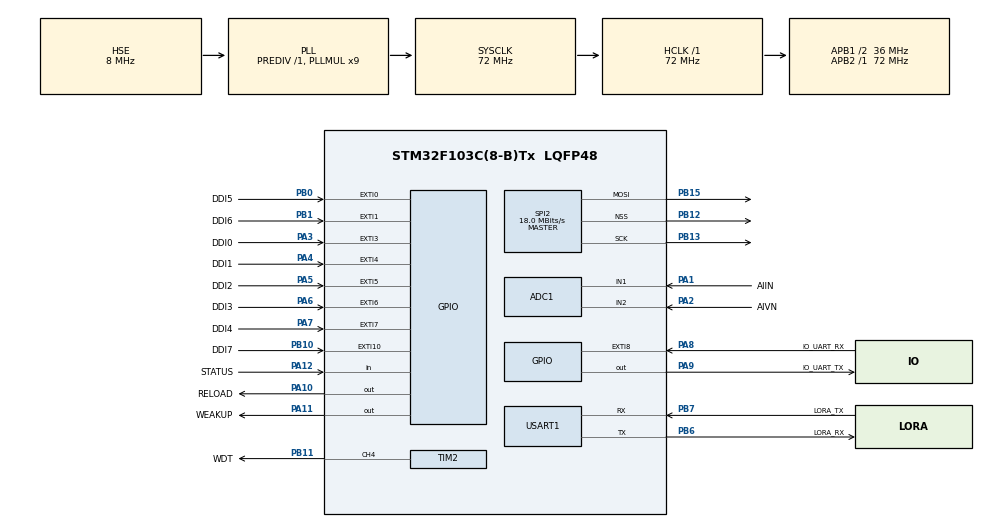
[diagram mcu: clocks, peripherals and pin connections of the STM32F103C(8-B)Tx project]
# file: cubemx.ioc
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ADC1.Channel-0\#ChannelRegularConversion=ADC_CHANNEL_1
ADC1.Channel-1\#ChannelRegularConversion=ADC_CHANNEL_2
ADC1.ContinuousConvMode=ENABLE
ADC1.EnableAnalogWatchDog=true
ADC1.NbrOfConversion=2
ADC1.NbrOfConversionFlag=1
ADC1.Rank-0\#ChannelRegularConversion=1
ADC1.Rank-1\#ChannelRegularConversion=2
ADC1.SamplingTime-0\#ChannelRegularConversion=ADC_SAMPLETIME_71CYCLES_5
ADC1.SamplingTime-1\#ChannelRegularConversion=ADC_SAMPLETIME_71CYCLES_5
ADC1.WatchdogChannel=ADC_CHANNEL_2
ADC1.master=1
Dma.ADC1.0.Direction=DMA_PERIPH_TO_MEMORY
Dma.ADC1.0.Instance=DMA1_Channel1
Dma.ADC1.0.MemDataAlignment=DMA_MDATAALIGN_WORD
Dma.ADC1.0.MemInc=DMA_MINC_ENABLE
Dma.ADC1.0.Mode=DMA_CIRCULAR
Dma.ADC1.0.PeriphDataAlignment=DMA_PDATAALIGN_WORD
Dma.ADC1.0.PeriphInc=DMA_PINC_DISABLE
Dma.ADC1.0.Priority=DMA_PRIORITY_HIGH
Dma.Request0=ADC1
Dma.Request1=USART1_RX
Dma.Request2=USART1_TX
Dma.USART1_RX.1.Direction=DMA_PERIPH_TO_MEMORY
Dma.USART1_RX.1.Instance=DMA1_Channel5
Dma.USART1_RX.1.MemDataAlignment=DMA_MDATAALIGN_BYTE
Dma.USART1_RX.1.MemInc=DMA_MINC_ENABLE
Dma.USART1_RX.1.Mode=DMA_NORMAL
Dma.USART1_RX.1.PeriphDataAlignment=DMA_PDATAALIGN_BYTE
Dma.USART1_RX.1.PeriphInc=DMA_PINC_DISABLE
Dma.USART1_RX.1.Priority=DMA_PRIORITY_MEDIUM
Dma.USART1_TX.2.Direction=DMA_MEMORY_TO_PERIPH
Dma.USART1_TX.2.Instance=DMA1_Channel4
Dma.USART1_TX.2.MemDataAlignment=DMA_MDATAALIGN_BYTE
Dma.USART1_TX.2.MemInc=DMA_MINC_ENABLE
Dma.USART1_TX.2.Mode=DMA_NORMAL
Dma.USART1_TX.2.PeriphDataAlignment=DMA_PDATAALIGN_BYTE
Dma.USART1_TX.2.PeriphInc=DMA_PINC_DISABLE
Dma.USART1_TX.2.Priority=DMA_PRIORITY_MEDIUM
FREERTOS.BinarySemaphores01=Recive,Dynamic,NULL
FREERTOS.Mutexes01=shellMutex,Dynamic,NULL
FREERTOS.Queues01=DDIx_Queue,16,uint16_t,0,Dynamic,NULL,NULL
FREERTOS.Tasks01=shell,-2,256,Shell_Task,Default,&shell,Dynamic,NULL,NULL;mdbus,0,256,Mdbus_Task,Default,NULL,Dynamic,NULL,NULL;read_io,1,256,Read_Io_Task,Default,&DDIx,Dynamic,NULL,NULL;IWDG,3,64,IWDG_Task,Default,NULL,Dynamic,NULL,NULL
FREERTOS.Timers01=Timer1,Timer_Callback,osTimerPeriodic,Default,NULL,Dynamic,NULL
FREERTOS.configCHECK_FOR_STACK_OVERFLOW=2
FREERTOS.configMINIMAL_STACK_SIZE=64
FREERTOS.configTIMER_TASK_STACK_DEPTH=256
FREERTOS.configTOTAL_HEAP_SIZE=14336
FREERTOS.configUSE_TIMERS=1
IWDG.Prescaler=IWDG_PRESCALER_64
IWDG.Reload=1250
Mcu.Family=STM32F1
Mcu.Name=STM32F103C(8-B)Tx
Mcu.Package=LQFP48
NVIC.DMA1_Channel1_IRQn=true\:5\:0\:true\:false\:true\:true\:false\:true\:true
NVIC.DMA1_Channel4_IRQn=true\:5\:0\:false\:false\:true\:true\:false\:true\:true
NVIC.DMA1_Channel5_IRQn=true\:5\:0\:false\:false\:true\:true\:false\:true\:true
NVIC.EXTI0_IRQn=true\:5\:0\:false\:false\:true\:true\:true\:true\:true
NVIC.EXTI15_10_IRQn=true\:5\:0\:false\:false\:true\:true\:true\:true\:true
NVIC.EXTI1_IRQn=true\:5\:0\:false\:false\:true\:true\:true\:true\:true
NVIC.EXTI3_IRQn=true\:5\:0\:false\:false\:true\:true\:true\:true\:true
NVIC.EXTI4_IRQn=true\:5\:0\:false\:false\:true\:true\:true\:true\:true
NVIC.EXTI9_5_IRQn=true\:3\:0\:true\:false\:true\:false\:true\:true\:true
NVIC.PriorityGroup=NVIC_PRIORITYGROUP_4
NVIC.TIM1_UP_IRQn=true\:0\:0\:false\:false\:true\:false\:false\:true\:true
NVIC.TIM3_IRQn=true\:4\:0\:true\:false\:true\:false\:true\:true\:true
NVIC.TIM4_IRQn=true\:3\:0\:true\:false\:true\:false\:true\:true\:true
NVIC.TimeBase=TIM1_UP_IRQn
NVIC.TimeBaseIP=TIM1
NVIC.USART1_IRQn=true\:5\:0\:true\:false\:true\:true\:true\:true\:true
PA1.GPIO_Label=AIIN
PA1.Signal=ADCx_IN1
PA10.GPIO_Label=RELOAD
PA10.GPIO_PuPd=GPIO_PULLUP
PA10.GPIO_Speed=GPIO_SPEED_FREQ_LOW
PA10.PinState=GPIO_PIN_SET
PA10.Signal=GPIO_Output
PA11.GPIO_Label=WEAKUP
PA11.GPIO_PuPd=GPIO_PULLUP
PA11.PinState=GPIO_PIN_SET
PA11.Signal=GPIO_Output
PA12.GPIO_Label=STATUS
PA12.GPIO_PuPd=GPIO_PULLUP
PA12.Signal=GPIO_Input
PA13.Mode=Serial_Wire
PA13.Signal=SYS_JTMS-SWDIO
PA14.Mode=Serial_Wire
PA14.Signal=SYS_JTCK-SWCLK
PA2.GPIO_Label=AIVN
PA2.Signal=ADCx_IN2
PA3.GPIO_Label=DDI0
PA3.GPIO_ModeDefaultEXTI=GPIO_MODE_IT_FALLING
PA3.Signal=GPXTI3
PA4.GPIO_Label=DDI1
PA4.GPIO_ModeDefaultEXTI=GPIO_MODE_IT_FALLING
PA4.Signal=GPXTI4
PA5.GPIO_Label=DDI2
PA5.GPIO_ModeDefaultEXTI=GPIO_MODE_IT_FALLING
PA5.Signal=GPXTI5
PA6.GPIO_Label=DDI3
PA6.GPIO_ModeDefaultEXTI=GPIO_MODE_IT_FALLING
PA6.Signal=GPXTI6
PA7.GPIO_Label=DDI4
PA7.GPIO_ModeDefaultEXTI=GPIO_MODE_IT_FALLING
PA7.Signal=GPXTI7
PA8.GPIO_Label=IO_UART_RX
PA8.GPIO_ModeDefaultEXTI=GPIO_MODE_IT_FALLING
PA8.GPIO_PuPd=GPIO_PULLUP
PA8.Signal=GPXTI8
PA9.GPIO_Label=IO_UART_TX
PA9.GPIO_PuPd=GPIO_PULLUP
PA9.GPIO_Speed=GPIO_SPEED_FREQ_HIGH
PA9.PinState=GPIO_PIN_SET
PA9.Signal=GPIO_Output
PB0.GPIO_Label=DDI5
PB0.GPIO_ModeDefaultEXTI=GPIO_MODE_IT_FALLING
PB0.GPIO_PuPd=GPIO_PULLUP
PB0.Signal=GPXTI0
PB1.GPIO_Label=DDI6
PB1.GPIO_ModeDefaultEXTI=GPIO_MODE_IT_FALLING
PB1.GPIO_PuPd=GPIO_PULLUP
PB1.Signal=GPXTI1
PB10.GPIO_Label=DDI7
PB10.GPIO_ModeDefaultEXTI=GPIO_MODE_IT_FALLING
PB10.GPIO_PuPd=GPIO_PULLUP
PB10.Signal=GPXTI10
PB11.GPIO_Label=WDT
PB11.Signal=S_TIM2_CH4
PB12.Mode=NSS_Signal_Hard_Output
PB12.Signal=SPI2_NSS
PB13.Mode=TX_Only_Simplex_Unidirect_Master
PB13.Signal=SPI2_SCK
PB15.Mode=TX_Only_Simplex_Unidirect_Master
PB15.Signal=SPI2_MOSI
PB6.GPIO_Label=LORA_RX
PB6.Mode=Asynchronous
PB6.Signal=USART1_TX
PB7.GPIO_Label=LORA_TX
PB7.GPIO_PuPd=GPIO_PULLUP
PB7.Mode=Asynchronous
PB7.Signal=USART1_RX
PC14-OSC32_IN.Mode=LSE-External-Oscillator
PC14-OSC32_IN.Signal=RCC_OSC32_IN
PC15-OSC32_OUT.Mode=LSE-External-Oscillator
PC15-OSC32_OUT.Signal=RCC_OSC32_OUT
PD0-OSC_IN.Mode=HSE-External-Oscillator
PD0-OSC_IN.Signal=RCC_OSC_IN
PD1-OSC_OUT.Mode=HSE-External-Oscillator
PD1-OSC_OUT.Signal=RCC_OSC_OUT
ProjectManager.HeapSize=0x0
ProjectManager.StackSize=0x800
ProjectManager.TargetToolchain=MDK-ARM V5.27
RCC.ADCPresc=RCC_ADCPCLK2_DIV6
RCC.AHBFreq_Value=72000000
RCC.APB1CLKDivider=RCC_HCLK_DIV2
RCC.APB1Freq_Value=36000000
RCC.APB1TimFreq_Value=72000000
RCC.APB2Freq_Value=72000000
RCC.APB2TimFreq_Value=72000000
RCC.HCLKFreq_Value=72000000
RCC.PLLMUL=RCC_PLL_MUL9
RCC.PLLSourceVirtual=RCC_PLLSOURCE_HSE
RCC.SYSCLKFreq_VALUE=72000000
RCC.SYSCLKSource=RCC_SYSCLKSOURCE_PLLCLK
RCC.USBFreq_Value=72000000
RealThread.RT-Thread.3.1.5.RT_DEBUG_INIT=0
RealThread.RT-Thread.3.1.5.RT_MAIN_THREAD_STACK_SIZE=512
RealThread.RT-Thread.3.1.5.RT_USING_CONSOLE=1
RealThread.RT-Thread.3.1.5.RT_USING_HEAP=1
RealThread.RT-Thread.3.1.5.RT_USING_MUTEX=1
RealThread.RT-Thread.3.1.5.RT_USING_OVERFLOW_CHECK=1
RealThread.RT-Thread.3.1.5.RT_USING_TIMER_SOFT=1
SH.ADCx_IN1.0=ADC2_IN1
SH.ADCx_IN1.1=ADC1_IN1,IN1
SH.ADCx_IN2.0=ADC2_IN2
SH.ADCx_IN2.1=ADC1_IN2,IN2
SH.S_TIM2_CH4.0=TIM2_CH4,PWM Generation4 CH4
SPI2.CalculateBaudRate=18.0 MBits/s
SPI2.Direction=SPI_DIRECTION_2LINES
SPI2.Mode=SPI_MODE_MASTER
SPI2.VirtualNSS=VM_NSSHARD
SPI2.VirtualType=VM_MASTER
TIM2.AutoReloadPreload=TIM_AUTORELOAD_PRELOAD_ENABLE
TIM2.Channel-PWM\ Generation4\ CH4=TIM_CHANNEL_4
TIM2.Period=10000-1
TIM2.Prescaler=7200-1
TIM2.Pulse-PWM\ Generation4\ CH4=5000
TIM3.AutoReloadPreload=TIM_AUTORELOAD_PRELOAD_DISABLE
TIM3.Prescaler=72-1
TIM3.TIM_MasterOutputTrigger=TIM_TRGO_RESET
TIM4.AutoReloadPreload=TIM_AUTORELOAD_PRELOAD_DISABLE
TIM4.Prescaler=72-1
USART1.VirtualMode=VM_ASYNC
VP_FREERTOS_VS_CMSIS_V1.Mode=CMSIS_V1
VP_IWDG_VS_IWDG.Mode=IWDG_Activate
VP_SYS_VS_tim1.Mode=TIM1
VP_TIM2_VS_ClockSourceINT.Mode=Internal
VP_TIM3_VS_ClockSourceINT.Mode=Internal
VP_TIM4_VS_ClockSourceINT.Mode=Internal
board=custom

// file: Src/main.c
/* USER CODE BEGIN Header */
/**
 ******************************************************************************
 * @file           : main.c
 * @brief          : Main program body
 ******************************************************************************
 * @attention
 *
 * <h2><center>&copy; Copyright (c) 2022 STMicroelectronics.
 * All rights reserved.</center></h2>
 *
 * This software component is licensed by ST under BSD 3-Clause license,
 * the "License"; You may not use this file except in compliance with the
 * License. You may obtain a copy of the License at:
 *                        opensource.org/licenses/BSD-3-Clause
 *
 ******************************************************************************
 */
/* USER CODE END Header */
#include "main.h"
#include "cmsis_os.h"
#include "adc.h"
#include "dma.h"
#include "iwdg.h"
#include "spi.h"
#include "tim.h"
#include "usart.h"
#include "gpio.h"

/* USER CODE BEGIN Includes */
#include "shell_port.h"
#include "mdrtuslave.h"
#include "L101.h"
#include "io_uart.h"
#include "io_signal.h"
/* USER CODE END Includes */

/* USER CODE BEGIN PTD */
/* USER CODE BEGIN PTD */
extern void MX_RT_Thread_Init(void);
/* USER CODE END PTD */

void SystemClock_Config(void);
void MX_FREERTOS_Init(void);

int main(void)
{

  /* MCU Configuration--------------------------------------------------------*/

  /* Reset of all peripherals, Initializes the Flash interface and the Systick. */
  HAL_Init();

  /* Configure the system clock */
  SystemClock_Config();

  /* Initialize all configured peripherals */
  MX_GPIO_Init();
  MX_DMA_Init();
  MX_ADC1_Init();
  MX_SPI2_Init();
  MX_TIM2_Init();
  MX_USART1_UART_Init();
  MX_TIM3_Init();
  MX_TIM4_Init();
  MX_IWDG_Init();
  /* USER CODE BEGIN 2 */
#if defined(USING_IO_UART)
  // HAL_Delay(500);
  MX_Suart_Init();
#endif
  User_Shell_Init(Shell_Object);
  ModbusInit(&Master_Object);
  /*DMA buffer must point to an entity address!!!*/
  HAL_UART_Receive_DMA(&huart1, mdRTU_Recive_Buf(Master_Object), MODBUS_PDU_SIZE_MAX);
  // Slist_Init();
#if defined(USING_RTTHREAD)
  MX_RT_Thread_Init();
#endif
  /*Only ADC1 channel 0 uses DMA*/
  /*Start hardware watchdog*/
  HAL_TIM_PWM_Start(&htim2, TIM_CHANNEL_4);
  HAL_ADC_Start_DMA(&hadc1, (uint32_t *)Adc_buffer, ADC_DMA_SIZE);
  /* USER CODE END 2 */

  /* Call init function for freertos objects (in freertos.c) */
  MX_FREERTOS_Init();

  /* Start scheduler */
  osKernelStart();

  /* We should never get here as control is now taken by the scheduler */
  /* Infinite loop */
  /* USER CODE BEGIN WHILE */
  while (1)
  {
    /*After the main thread runs, it is automatically deleted by the operating system*/
    /* USER CODE END WHILE */

  }
}

void SystemClock_Config(void)
{
  RCC_OscInitTypeDef RCC_OscInitStruct = {0};
  RCC_ClkInitTypeDef RCC_ClkInitStruct = {0};
  RCC_PeriphCLKInitTypeDef PeriphClkInit = {0};

  /** Initializes the RCC Oscillators according to the specified parameters
   * in the RCC_OscInitTypeDef structure.
   */
  RCC_OscInitStruct.OscillatorType = RCC_OSCILLATORTYPE_LSI | RCC_OSCILLATORTYPE_HSE;
  RCC_OscInitStruct.HSEState = RCC_HSE_ON;
  RCC_OscInitStruct.HSEPredivValue = RCC_HSE_PREDIV_DIV1;
  RCC_OscInitStruct.HSIState = RCC_HSI_ON;
  RCC_OscInitStruct.LSIState = RCC_LSI_ON;
  RCC_OscInitStruct.PLL.PLLState = RCC_PLL_ON;
  RCC_OscInitStruct.PLL.PLLSource = RCC_PLLSOURCE_HSE;
  RCC_OscInitStruct.PLL.PLLMUL = RCC_PLL_MUL9;
  if (HAL_RCC_OscConfig(&RCC_OscInitStruct) != HAL_OK)
  {
    Error_Handler();
  }

  /** Initializes the CPU, AHB and APB buses clocks
   */
  RCC_ClkInitStruct.ClockType = RCC_CLOCKTYPE_HCLK | RCC_CLOCKTYPE_SYSCLK | RCC_CLOCKTYPE_PCLK1 | RCC_CLOCKTYPE_PCLK2;
  RCC_ClkInitStruct.SYSCLKSource = RCC_SYSCLKSOURCE_PLLCLK;
  RCC_ClkInitStruct.AHBCLKDivider = RCC_SYSCLK_DIV1;
  RCC_ClkInitStruct.APB1CLKDivider = RCC_HCLK_DIV2;
  RCC_ClkInitStruct.APB2CLKDivider = RCC_HCLK_DIV1;

  if (HAL_RCC_ClockConfig(&RCC_ClkInitStruct, FLASH_LATENCY_2) != HAL_OK)
  {
    Error_Handler();
  }
  PeriphClkInit.PeriphClockSelection = RCC_PERIPHCLK_ADC;
  PeriphClkInit.AdcClockSelection = RCC_ADCPCLK2_DIV6;
  if (HAL_RCCEx_PeriphCLKConfig(&PeriphClkInit) != HAL_OK)
  {
    Error_Handler();
  }
}

void HAL_TIM_PeriodElapsedCallback(TIM_HandleTypeDef *htim)
{
  /* USER CODE BEGIN Callback 0 */
  IoUart_HandleTypeDef *huart = &S_Uart1;
  static uint8_t Samp_Bits = 0;
  // uint8_t *p = &huart->Tx.pBuf[0];
  /* USER CODE END Callback 0 */
  if (htim->Instance == TIM1)
  {
    HAL_IncTick();
    DDIx_TimerOut_Check(&DDIx);
  }
  /* USER CODE BEGIN Callback 1 */
  else if (htim->Instance == TIM3)
  { /*Data transmission, transmission priority, no transmission before entering the receiving state*/
    if (huart->Tx.En)
    { /*Serial port sending bit status judgment*/
      switch (huart->Tx.Status)
      {
      case COM_START_BIT:
      {
        HAL_GPIO_WritePin(IO_UART_TX_GPIO_Port, IO_UART_TX_Pin, GPIO_PIN_RESET);
        huart->Tx.Status = COM_DATA_BIT;
        huart->Tx.Bits = 0U;
      }
      break;
      case COM_DATA_BIT:
      {
        HAL_GPIO_WritePin(IO_UART_TX_GPIO_Port, IO_UART_TX_Pin, (GPIO_PinState)((*(huart->Tx.pBuf) >> huart->Tx.Bits) & 0x01));

        if (++huart->Tx.Bits >= 8U)
        {
          huart->Tx.Status = huart->Check_Type ? COM_CHECK_BIT : COM_STOP_BIT;
        }
      }
      break;
      case COM_CHECK_BIT:
      {
      }
      break;
      case COM_STOP_BIT:
      {
        HAL_GPIO_WritePin(IO_UART_TX_GPIO_Port, IO_UART_TX_Pin, GPIO_PIN_SET);
        huart->Tx.Bits = 0U;
        if (--huart->Tx.Len)
        {
          huart->Tx.Status = COM_START_BIT;
          huart->Tx.pBuf++;
        }
        else
        {
          huart->Tx.Status = COM_NONE_BIT;
          huart->Tx.En = false;
          huart->Rx.En = true;
          HAL_TIM_Base_Stop_IT(huart->Tx.Timer_Handle);
          __HAL_TIM_SET_COUNTER(huart->Tx.Timer_Handle, 0U);
          /*清除外部中断线挂起寄存器*/
          __HAL_GPIO_EXTI_CLEAR_IT(IO_UART_RX_Pin);
          HAL_NVIC_EnableIRQ(huart->Rx.IRQn);
          huart->Tx.Finsh_Flag = true;
        }
      }
      break;
      default:
        break;
      }
    }
  }
  else if (htim->Instance == TIM4)
  {
    if (huart->Rx.En)
    {
      switch (huart->Rx.Status)
      {
      case COM_START_BIT:
      {
        Samp_Bits = (Samp_Bits << 1U) | (HAL_GPIO_ReadPin(IO_UART_RX_GPIO_Port, IO_UART_RX_Pin) & 0x01);

        if (++huart->Rx.Filters >= MAX_SAMPING)
        {
          if (!Get_ValidBits(Samp_Bits))
          {
            huart->Rx.Status = COM_DATA_BIT;
            __HAL_TIM_SET_AUTORELOAD(huart->Rx.Timer_Handle, huart->Rx.Sam_Times[huart->Rx.Filters]);
          }
          else
          {
            huart->Rx.Status = COM_STOP_BIT;
          }
          Samp_Bits = 0U;
          huart->Rx.Filters = 0U;
        }
        else
        {
          __HAL_TIM_SET_AUTORELOAD(huart->Rx.Timer_Handle, huart->Rx.Sam_Times[huart->Rx.Filters]);
        }
      }
      break;
      case COM_DATA_BIT: /*Data bit*/
      {
        Samp_Bits = (Samp_Bits << 1U) | (HAL_GPIO_ReadPin(IO_UART_RX_GPIO_Port, IO_UART_RX_Pin) & 0x01);

        if (++huart->Rx.Filters >= MAX_SAMPING)
        {
          huart->Rx.Data |= (Get_ValidBits(Samp_Bits) & 0x01) << huart->Rx.Bits;
          if (huart->Rx.Bits >= 7U)
          {
            huart->Rx.Bits = 0;
            huart->Rx.Status = huart->Check_Type ? COM_CHECK_BIT : COM_STOP_BIT;
          }
          else
          {
            huart->Rx.Bits++;
          }
          __HAL_TIM_SET_AUTORELOAD(huart->Rx.Timer_Handle, huart->Rx.Sam_Times[huart->Rx.Filters]);
          huart->Rx.Filters = 0U;
          Samp_Bits = 0U;
        }
        else
        {
          __HAL_TIM_SET_AUTORELOAD(huart->Rx.Timer_Handle, huart->Rx.Sam_Times[huart->Rx.Filters]);
        }
      }
      break;
      case COM_CHECK_BIT: /*Check bit*/
      {
        huart->Rx.Status = COM_NONE_BIT;
      }
      break;
      case COM_STOP_BIT: /*stop bit*/
      {
        Samp_Bits = (Samp_Bits << 1U) | (HAL_GPIO_ReadPin(IO_UART_RX_GPIO_Port, IO_UART_RX_Pin) & 0x01);

        if (++huart->Rx.Filters >= MAX_SAMPING)
        { /*Stop bit received correctly*/
          if (Get_ValidBits(Samp_Bits))
          {
            huart->Rx.Len++;
            huart->Rx.Status = COM_NONE_BIT;
            // huart->Rx.En = true;
            // huart->Tx.En = false; ///
            HAL_TIM_Base_Stop_IT(huart->Rx.Timer_Handle);
            __HAL_TIM_SET_COUNTER(huart->Rx.Timer_Handle, 0U);
            // HAL_NVIC_EnableIRQ(huart->Rx.IRQn);
            /*Two interrupts are generated when one data is received?*/
            // huart->Rx.Finsh_Flag ^= true;
            huart->Rx.Finsh_Flag = true;
          }
          huart->Rx.Filters = 0U;
          Samp_Bits = 0U;
        }
        else
        {
          __HAL_TIM_SET_AUTORELOAD(huart->Rx.Timer_Handle, huart->Rx.Sam_Times[huart->Rx.Filters]);
        }
      }
      break;
      default:
        break;
      }
    }
  }
  /* USER CODE END Callback 1 */
}

void Error_Handler(void)
{
  __disable_irq();
  while (1)
  {
  }
}

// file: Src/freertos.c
/* USER CODE BEGIN Header */
/**
 ******************************************************************************
 * File Name          : freertos.c
 * Description        : Code for freertos applications
 ******************************************************************************
 * @attention
 *
 * <h2><center>&copy; Copyright (c) 2022 STMicroelectronics.
 * All rights reserved.</center></h2>
 *
 * This software component is licensed by ST under Ultimate Liberty license
 * SLA0044, the "License"; You may not use this file except in compliance with
 * the License. You may obtain a copy of the License at:
 *                             www.st.com/SLA0044
 *
 ******************************************************************************
 */
/* USER CODE END Header */

#include "FreeRTOS.h"
#include "task.h"
#include "main.h"
#include "cmsis_os.h"

/* USER CODE BEGIN Includes */
#include "shell.h"
#include "shell_port.h"
#include "mdrtuslave.h"
#include "at_usr.h"
#include "io_signal.h"
#include "L101.h"
#include "io_uart.h"
#include "at.h"
/* USER CODE END Includes */

/* USER CODE BEGIN PTD */
bool g_At = false;
SHELL_EXPORT_VAR(SHELL_CMD_PERMISSION(0) | SHELL_CMD_TYPE(SHELL_TYPE_VAR_INT), g_at, &g_At, at_cmd);
extern void Free_Mode(Shell *shell, char *pData);
extern bool Check_Mode(ModbusRTUSlaveHandler handler);
/* USER CODE END PTD */

osThreadId shellHandle;
osThreadId mdbusHandle;
osThreadId read_ioHandle;
osThreadId IWDGHandle;
osMessageQId DDIx_QueueHandle;
osTimerId Timer1Handle;
osMutexId shellMutexHandle;
osSemaphoreId ReciveHandle;

void Shell_Task(void const *argument);
void Mdbus_Task(void const *argument);
void Read_Io_Task(void const *argument);
void IWDG_Task(void const *argument);
void Timer_Callback(void const *argument);

void MX_FREERTOS_Init(void); /* (MISRA C 2004 rule 8.1) */

/* GetIdleTaskMemory prototype (linked to static allocation support) */
void vApplicationGetIdleTaskMemory(StaticTask_t **ppxIdleTaskTCBBuffer, StackType_t **ppxIdleTaskStackBuffer, uint32_t *pulIdleTaskStackSize);

/* GetTimerTaskMemory prototype (linked to static allocation support) */
void vApplicationGetTimerTaskMemory(StaticTask_t **ppxTimerTaskTCBBuffer, StackType_t **ppxTimerTaskStackBuffer, uint32_t *pulTimerTaskStackSize);

/* Hook prototypes */
void vApplicationStackOverflowHook(xTaskHandle xTask, signed char *pcTaskName);

/* USER CODE BEGIN 4 */
__weak void vApplicationStackOverflowHook(xTaskHandle xTask, signed char *pcTaskName)
{
  /* Run time stack overflow checking is performed if
  configCHECK_FOR_STACK_OVERFLOW is defined to 1 or 2. This hook function is
  called if a stack overflow is detected. */
  shellPrint(&shell, "%s is stack overflow!\r\n", pcTaskName);
}
/* USER CODE END 4 */

/* USER CODE BEGIN GET_IDLE_TASK_MEMORY */
static StaticTask_t xIdleTaskTCBBuffer;
static StackType_t xIdleStack[configMINIMAL_STACK_SIZE];

void vApplicationGetIdleTaskMemory(StaticTask_t **ppxIdleTaskTCBBuffer, StackType_t **ppxIdleTaskStackBuffer, uint32_t *pulIdleTaskStackSize)
{
  *ppxIdleTaskTCBBuffer = &xIdleTaskTCBBuffer;
  *ppxIdleTaskStackBuffer = &xIdleStack[0];
  *pulIdleTaskStackSize = configMINIMAL_STACK_SIZE;
  /* place for user code */
}
/* USER CODE END GET_IDLE_TASK_MEMORY */

/* USER CODE BEGIN GET_TIMER_TASK_MEMORY */
static StaticTask_t xTimerTaskTCBBuffer;
static StackType_t xTimerStack[configTIMER_TASK_STACK_DEPTH];

void vApplicationGetTimerTaskMemory(StaticTask_t **ppxTimerTaskTCBBuffer, StackType_t **ppxTimerTaskStackBuffer, uint32_t *pulTimerTaskStackSize)
{
  *ppxTimerTaskTCBBuffer = &xTimerTaskTCBBuffer;
  *ppxTimerTaskStackBuffer = &xTimerStack[0];
  *pulTimerTaskStackSize = configTIMER_TASK_STACK_DEPTH;
  /* place for user code */
}
/* USER CODE END GET_TIMER_TASK_MEMORY */

void MX_FREERTOS_Init(void)
{
  /* Create the mutex(es) */
  /* definition and creation of shellMutex */
  osMutexDef(shellMutex);
  shellMutexHandle = osMutexCreate(osMutex(shellMutex));

  /* Create the semaphores(s) */
  /* definition and creation of Recive */
  osSemaphoreDef(Recive);
  ReciveHandle = osSemaphoreCreate(osSemaphore(Recive), 1);

  /* Create the timer(s) */
  /* definition and creation of Timer1 */
  osTimerDef(Timer1, Timer_Callback);
  Timer1Handle = osTimerCreate(osTimer(Timer1), osTimerPeriodic, NULL);

  /* Create the queue(s) */
  /* definition and creation of DDIx_Queue */
  osMessageQDef(DDIx_Queue, 16, uint16_t);
  DDIx_QueueHandle = osMessageCreate(osMessageQ(DDIx_Queue), NULL);

  /* Create the thread(s) */
  /* definition and creation of shell */
  osThreadDef(shell, Shell_Task, osPriorityLow, 0, 256);
  shellHandle = osThreadCreate(osThread(shell), (void *)&shell);

  /* definition and creation of mdbus */
  osThreadDef(mdbus, Mdbus_Task, osPriorityNormal, 0, 256);
  mdbusHandle = osThreadCreate(osThread(mdbus), NULL);

  /* definition and creation of read_io */
  osThreadDef(read_io, Read_Io_Task, osPriorityAboveNormal, 0, 256);
  read_ioHandle = osThreadCreate(osThread(read_io), &DDIx);

  /* definition and creation of IWDG */
  osThreadDef(IWDG, IWDG_Task, osPriorityRealtime, 0, 64);
  IWDGHandle = osThreadCreate(osThread(IWDG), NULL);

  /* USER CODE BEGIN RTOS_THREADS */
  osTimerStart(Timer1Handle, MDTASK_SENDTIMES);
  /*Suspend shell task*/
#if defined(USING_L101)
  osThreadSuspend(shellHandle);
#endif
  /* add threads, ... */
  /* USER CODE END RTOS_THREADS */
}

void Shell_Task(void const *argument)
{
  /* USER CODE BEGIN Shell_Task */
  // HAL_NVIC_DisableIRQ(TIM1_UP_IRQn);
  HAL_NVIC_DisableIRQ(TIM3_IRQn);
  HAL_NVIC_DisableIRQ(TIM4_IRQn);
  HAL_NVIC_DisableIRQ(EXTI9_5_IRQn);
  // HAL_NVIC_SetPriority(TIM1_UP_IRQn, 8, 0);
  HAL_NVIC_SetPriority(TIM3_IRQn, 6, 0);
  HAL_NVIC_SetPriority(TIM4_IRQn, 7, 0);
  HAL_NVIC_SetPriority(EXTI9_5_IRQn, 7, 0);
  // HAL_NVIC_EnableIRQ(TIM1_UP_IRQn);
  HAL_NVIC_EnableIRQ(TIM3_IRQn);
  HAL_NVIC_EnableIRQ(TIM4_IRQn);
  HAL_NVIC_EnableIRQ(EXTI9_5_IRQn);
#if !defined(USING_ASHINING)
#if !defined(USING_TRANSPARENT_MODE)
  At_GetSlaveId();
#endif
#endif
  DDIx.pQueue = DDIx_QueueHandle;
  /* Infinite loop */
  for (;;)
  {
#if defined(USING_DEBUG)
    // shellPrint(&shell, "shell_Task is running !\r\n");
    // osDelay(1000);
#endif
    shellTask((void *)argument);
  }
  /* USER CODE END Shell_Task */
}

void Mdbus_Task(void const *argument)
{
  /* USER CODE BEGIN Mdbus_Task */
  /* Infinite loop */
  for (;;)
  {
    /*https://www.cnblogs.com/w-smile/p/11333950.html*/
    if (osOK == osSemaphoreWait(ReciveHandle, osWaitForever))
    {
#if defined(USING_L101)
      Check_Mode(Master_Object) ? mdRTU_Handler(Master_Object) : Shell_Mode();
#else
      extern bool g_LoraMutex;
      if (!g_LoraMutex)
      {
        mdRTU_Handler(Master_Object);
#endif
#if defined(USING_DEBUG)
      shellWriteEndLine(&shell, "Received a data!\r\n", 19U);
#endif
    }
  }

#if defined(USING_DEBUG)
//     shellPrint(&shell, "Master_Object = 0x%p, ptick = 0x%p\r\n", Master_Object,
//                Master_Object->portRTUTimerTick);
//     osDelay(1000);
#endif

  // osDelay(10);
}
/* USER CODE END Mdbus_Task */
}

void Read_Io_Task(void const *argument)
{
  /* USER CODE BEGIN Read_Io_Task */
#if !defined(USING_REPEATER_MODE)
  DDIx_HandleTypeDef *pDDIx = (DDIx_HandleTypeDef *)argument;
#endif
  // uint16_t data = 0;
  /* Infinite loop */
  for (;;)
  {
    // Io_Digital_Handle();
    // Io_Analog_Handle();
    // osDelay(50);

    // if (xQueueReceive(DDIx_QueueHandle, &data, osWaitForever) == pdPASS)
    // {
    //   /* xRxedStructure now contains a copy of xMessage. */
    //   Io_Digital_Handle(pDDIx->site, (uint8_t *)&data);
    //   pDDIx->site = 0;
    //   pDDIx->bits = 0;
    // }
#if !defined(USING_REPEATER_MODE)
    Io_Digital_Handle((uint8_t *)&pDDIx->bits);
    pDDIx->bits = 0;
    Io_Analog_Handle();
#endif
    osDelay(50);
  }
  /* USER CODE END Read_Io_Task */
}

void IWDG_Task(void const *argument)
{
  /* USER CODE BEGIN IWDG_Task */
  /* Infinite loop */
  for (;;)
  {
    extern IWDG_HandleTypeDef hiwdg;
    HAL_IWDG_Refresh(&hiwdg);
    osDelay(100);
  }
  /* USER CODE END IWDG_Task */
}

/* Timer_Callback function */
void Timer_Callback(void const *argument)
{
  /* USER CODE BEGIN Timer_Callback */
  // Master_Poll();
  /* USER CODE END Timer_Callback */
}
